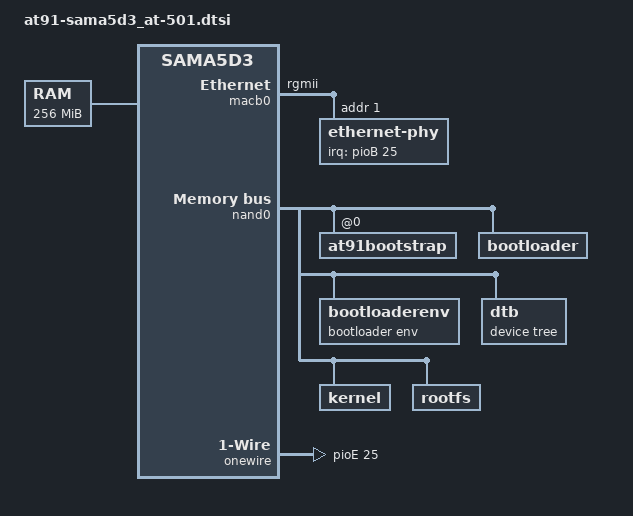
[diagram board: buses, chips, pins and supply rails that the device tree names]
/*
 * at91-sama5d3_at-501.dtsi - Device Tree file for ShiraTech AT-501
 *			      CPU module with SAMAD3x SoC.
 *
 *  Copyright (C) 2016 Joachim Eastwood <manabian@gmail.com>
 *
 * This file is dual-licensed: you can use it either under the terms
 * of the GPL or the X11 license, at your option. Note that this dual
 * licensing only applies to this file, and not this project as a
 * whole.
 *
 *  a) This file is free software; you can redistribute it and/or
 *     modify it under the terms of the GNU General Public License as
 *     published by the Free Software Foundation; either version 2 of the
 *     License, or (at your option) any later version.
 *
 *     This file is distributed in the hope that it will be useful,
 *     but WITHOUT ANY WARRANTY; without even the implied warranty of
 *     MERCHANTABILITY or FITNESS FOR A PARTICULAR PURPOSE.  See the
 *     GNU General Public License for more details.
 *
 * Or, alternatively,
 *
 *  b) Permission is hereby granted, free of charge, to any person
 *     obtaining a copy of this software and associated documentation
 *     files (the "Software"), to deal in the Software without
 *     restriction, including without limitation the rights to use,
 *     copy, modify, merge, publish, distribute, sublicense, and/or
 *     sell copies of the Software, and to permit persons to whom the
 *     Software is furnished to do so, subject to the following
 *     conditions:
 *
 *     The above copyright notice and this permission notice shall be
 *     included in all copies or substantial portions of the Software.
 *
 *     THE SOFTWARE IS PROVIDED "AS IS", WITHOUT WARRANTY OF ANY KIND,
 *     EXPRESS OR IMPLIED, INCLUDING BUT NOT LIMITED TO THE WARRANTIES
 *     OF MERCHANTABILITY, FITNESS FOR A PARTICULAR PURPOSE AND
 *     NONINFRINGEMENT. IN NO EVENT SHALL THE AUTHORS OR COPYRIGHT
 *     HOLDERS BE LIABLE FOR ANY CLAIM, DAMAGES OR OTHER LIABILITY,
 *     WHETHER IN AN ACTION OF CONTRACT, TORT OR OTHERWISE, ARISING
 *     FROM, OUT OF OR IN CONNECTION WITH THE SOFTWARE OR THE USE OR
 *     OTHER DEALINGS IN THE SOFTWARE.
 */
/ {
	compatible = "shiratech,at-501", "atmel,sama5d3", "atmel,sama5";

	memory {
		reg = <0x20000000 0x10000000>; /* 256 MB */
	};

	clocks {
		slow_xtal {
			clock-frequency = <32768>;
		};

		main_xtal {
			clock-frequency = <12000000>;
		};
	};

	ahb {
		apb {
			pinctrl@fffff200 {
				board {
					pinctrl_onewire_pin: onewire_pin {
						atmel,pins =<AT91_PIOE 25 AT91_PERIPH_GPIO AT91_PINCTRL_PULL_UP>;
					};

					pinctrl_macb0_phy_int: macb0_phy_int {
						atmel,pins =<AT91_PIOB 25 AT91_PERIPH_GPIO AT91_PINCTRL_PULL_UP>;
					};
				};
			};

			macb0: ethernet@f0028000 {
				pinctrl-0 = <&pinctrl_macb0_data_rgmii &pinctrl_macb0_signal_rgmii &pinctrl_macb0_phy_int>;
				phy-mode = "rgmii";
				#address-cells = <1>;
				#size-cells = <0>;

				ethernet-phy@1 {
					reg = <0x1>;
					interrupt-parent = <&pioB>;
					interrupts = <25 IRQ_TYPE_EDGE_FALLING>;
				};
			};
		};

		nand0: nand@60000000 {
			nand-bus-width = <8>;
			nand-ecc-mode = "hw";
			atmel,has-pmecc;
			atmel,pmecc-cap = <4>;
			atmel,pmecc-sector-size = <512>;
			nand-on-flash-bbt;
			status = "okay";

			at91bootstrap@0 {
				label = "at91bootstrap";
				reg = <0x0 0x40000>;
			};

			bootloader@40000 {
				label = "bootloader";
				reg = <0x40000 0x80000>;
			};

			bootloaderenv@c0000 {
				label = "bootloader env";
				reg = <0xc0000 0xc0000>;
			};

			dtb@180000 {
				label = "device tree";
				reg = <0x180000 0x80000>;
			};

			kernel@200000 {
				label = "kernel";
				reg = <0x200000 0x600000>;
			};

			rootfs@800000 {
				label = "rootfs";
				reg = <0x800000 0x0f800000>;
			};
		};
	};

	onewire {
		compatible = "w1-gpio";
		gpios = <&pioE 25 GPIO_ACTIVE_HIGH>;
		pinctrl-names = "default";
		pinctrl-0 = <&pinctrl_onewire_pin>;
	};
};
